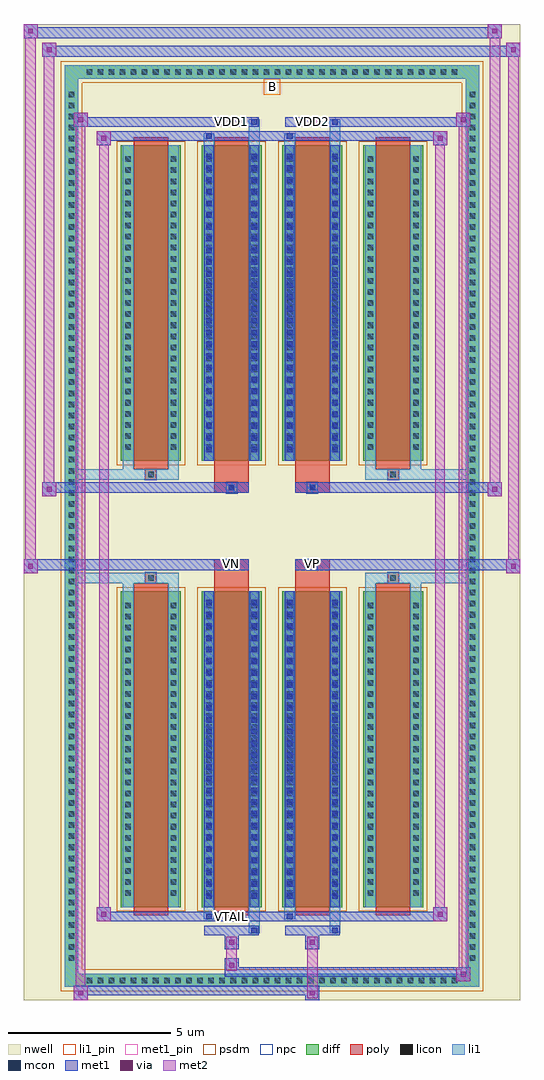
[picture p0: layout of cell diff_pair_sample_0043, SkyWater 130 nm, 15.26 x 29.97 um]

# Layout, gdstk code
import gdstk
lib = gdstk.Library(unit=1e-6, precision=5e-09)
def R(c, l, rs):  # rectangles x0, y0, x1, y1
    for r in rs: c.add(gdstk.rectangle(r[:2], r[2:], *l))
def A(c, l, x, y, w, h, nx, ny, dx, dy):  # array of equal rectangles
    R(c, l, [(x+i*dx, y+j*dy, x+i*dx+w, y+j*dy+h) for i in range(nx) for j in range(ny)])
def P(c, l, *ps):  # polygons
    for p in ps: c.add(gdstk.Polygon(p, *l))
nwell = (64, 20)
diff = (65, 20)
poly = (66, 20)
licon = (66, 44)
li1_pin = (67, 16)
li1 = (67, 20)
mcon = (67, 44)
met1_pin = (68, 16)
met1 = (68, 20)
via = (68, 44)
met2 = (69, 20)
psdm = (94, 20)
npc = (95, 20)

diff_pair_sample_0043 = lib.new_cell('diff_pair_sample_0043')
R(diff_pair_sample_0043, nwell, [(-7.63,-14.55,7.63,15.42), (-4.95,-12.74,-0.01,-0.82), (0.01,-12.74,4.95,-0.82), (-4.95,0.82,-0.01,12.74), (0.01,0.82,4.95,12.74)])
A(diff_pair_sample_0043, diff, -5.815, -14.15, 0.41, 0.41, 34, 2, 0.34, 27.89)
A(diff_pair_sample_0043, diff, -6.36, -13.465, 0.41, 0.41, 1, 79, 0, 0.34)
A(diff_pair_sample_0043, diff, 5.95, -13.465, 0.41, 0.41, 1, 79, 0, 0.34)
A(diff_pair_sample_0043, diff, -4.64, -11.695, 1.84, 9.69, 4, 2, 2.48, 13.7)
R(diff_pair_sample_0043, diff, [(-5.815,-14.15,5.815,-13.74), (-6.36,-13.465,-5.95,13.465), (5.95,-13.465,6.36,13.465), (-5.815,13.74,5.815,14.15)])
P(diff_pair_sample_0043, diff, [(6.36,14.15),(-6.36,14.15),(-6.36,-13.74),(-5.95,-13.74),(-5.95,13.74),(5.95,13.74),(5.95,-13.74),(-5.95,-13.74),(-6.36,-13.74),(-6.36,-14.15),(6.36,-14.15)])
A(diff_pair_sample_0043, poly, -4.25, -11.945, 1.06, 10.19, 4, 2, 2.48, 13.7)
R(diff_pair_sample_0043, poly, [(-3.885,-1.755,-3.555,-1.425), (-3.885,-1.755,-3.555,-1.425), (-1.77,-1.755,-0.71,-1.35), (0.71,-1.755,1.77,-1.35), (3.555,-1.755,3.885,-1.425), (3.555,-1.755,3.885,-1.425), (-1.77,-1.35,-0.71,-1.02), (-1.405,-1.35,-1.075,-1.02), (0.71,-1.35,1.77,-1.02), (1.075,-1.35,1.405,-1.02), (-1.77,1.02,-0.71,1.35), (-1.405,1.02,-1.075,1.35), (0.71,1.02,1.77,1.35), (1.075,1.02,1.405,1.35), (-1.77,1.35,-0.71,1.755), (0.71,1.35,1.77,1.755), (-3.885,1.425,-3.555,1.755), (-3.885,1.425,-3.555,1.755), (3.555,1.425,3.885,1.755), (3.555,1.425,3.885,1.755)])
A(diff_pair_sample_0043, licon, -5.695, -14.03, 0.17, 0.17, 34, 2, 0.34, 27.89)
A(diff_pair_sample_0043, licon, -6.24, -13.345, 0.17, 0.17, 1, 79, 0, 0.34)
A(diff_pair_sample_0043, licon, 6.07, -13.345, 0.17, 0.17, 1, 79, 0, 0.34)
A(diff_pair_sample_0043, licon, -4.5, -11.355, 0.17, 0.17, 1, 27, 0, 0.34)
A(diff_pair_sample_0043, licon, -3.11, -11.355, 0.17, 0.17, 1, 27, 0, 0.34)
A(diff_pair_sample_0043, licon, -2.02, -11.355, 0.17, 0.17, 1, 27, 0, 0.34)
A(diff_pair_sample_0043, licon, -0.63, -11.355, 0.17, 0.17, 1, 27, 0, 0.34)
A(diff_pair_sample_0043, licon, 0.46, -11.355, 0.17, 0.17, 1, 27, 0, 0.34)
A(diff_pair_sample_0043, licon, 1.85, -11.355, 0.17, 0.17, 1, 27, 0, 0.34)
A(diff_pair_sample_0043, licon, 2.94, -11.355, 0.17, 0.17, 1, 27, 0, 0.34)
A(diff_pair_sample_0043, licon, 4.33, -11.355, 0.17, 0.17, 1, 27, 0, 0.34)
A(diff_pair_sample_0043, licon, -4.5, 2.345, 0.17, 0.17, 1, 27, 0, 0.34)
A(diff_pair_sample_0043, licon, -3.11, 2.345, 0.17, 0.17, 1, 27, 0, 0.34)
A(diff_pair_sample_0043, licon, -2.02, 2.345, 0.17, 0.17, 1, 27, 0, 0.34)
A(diff_pair_sample_0043, licon, -0.63, 2.345, 0.17, 0.17, 1, 27, 0, 0.34)
A(diff_pair_sample_0043, licon, 0.46, 2.345, 0.17, 0.17, 1, 27, 0, 0.34)
A(diff_pair_sample_0043, licon, 1.85, 2.345, 0.17, 0.17, 1, 27, 0, 0.34)
A(diff_pair_sample_0043, licon, 2.94, 2.345, 0.17, 0.17, 1, 27, 0, 0.34)
A(diff_pair_sample_0043, licon, 4.33, 2.345, 0.17, 0.17, 1, 27, 0, 0.34)
R(diff_pair_sample_0043, licon, [(-3.805,-1.675,-3.635,-1.505), (3.635,-1.675,3.805,-1.505), (-1.325,-1.27,-1.155,-1.1), (1.155,-1.27,1.325,-1.1), (-1.325,1.1,-1.155,1.27), (1.155,1.1,1.325,1.27), (-3.805,1.505,-3.635,1.675), (3.635,1.505,3.805,1.675)])
R(diff_pair_sample_0043, li1_pin, [(-0.25,13.24,0.25,13.74)])
A(diff_pair_sample_0043, li1, -5.775, -14.11, 0.33, 0.33, 34, 2, 0.34, 27.89)
A(diff_pair_sample_0043, li1, -6.32, -13.425, 0.33, 0.33, 1, 79, 0, 0.34)
A(diff_pair_sample_0043, li1, 5.99, -13.425, 0.33, 0.33, 1, 79, 0, 0.34)
A(diff_pair_sample_0043, li1, -4.58, -11.435, 0.33, 0.33, 1, 27, 0, 0.34)
A(diff_pair_sample_0043, li1, -3.19, -11.435, 0.33, 0.33, 1, 27, 0, 0.34)
A(diff_pair_sample_0043, li1, -2.1, -11.435, 0.33, 0.33, 1, 27, 0, 0.34)
A(diff_pair_sample_0043, li1, -2.02, -11.435, 0.17, 0.17, 1, 26, 0, 0.36)
A(diff_pair_sample_0043, li1, -0.71, -11.435, 0.33, 0.33, 1, 27, 0, 0.34)
A(diff_pair_sample_0043, li1, -0.63, -11.435, 0.17, 0.17, 1, 26, 0, 0.36)
A(diff_pair_sample_0043, li1, 0.38, -11.435, 0.33, 0.33, 1, 27, 0, 0.34)
A(diff_pair_sample_0043, li1, 0.46, -11.435, 0.17, 0.17, 1, 26, 0, 0.36)
A(diff_pair_sample_0043, li1, 1.77, -11.435, 0.33, 0.33, 1, 27, 0, 0.34)
A(diff_pair_sample_0043, li1, 1.85, -11.435, 0.17, 0.17, 1, 26, 0, 0.36)
A(diff_pair_sample_0043, li1, 2.86, -11.435, 0.33, 0.33, 1, 27, 0, 0.34)
A(diff_pair_sample_0043, li1, 4.25, -11.435, 0.33, 0.33, 1, 27, 0, 0.34)
A(diff_pair_sample_0043, li1, -4.58, 2.265, 0.33, 0.33, 1, 27, 0, 0.34)
A(diff_pair_sample_0043, li1, -3.19, 2.265, 0.33, 0.33, 1, 27, 0, 0.34)
A(diff_pair_sample_0043, li1, -2.1, 2.265, 0.33, 0.33, 1, 27, 0, 0.34)
A(diff_pair_sample_0043, li1, -2.02, 2.265, 0.17, 0.17, 1, 26, 0, 0.36)
A(diff_pair_sample_0043, li1, -0.71, 2.265, 0.33, 0.33, 1, 27, 0, 0.34)
A(diff_pair_sample_0043, li1, -0.63, 2.265, 0.17, 0.17, 1, 26, 0, 0.36)
A(diff_pair_sample_0043, li1, 0.38, 2.265, 0.33, 0.33, 1, 27, 0, 0.34)
A(diff_pair_sample_0043, li1, 0.46, 2.265, 0.17, 0.17, 1, 26, 0, 0.36)
A(diff_pair_sample_0043, li1, 1.77, 2.265, 0.33, 0.33, 1, 27, 0, 0.34)
A(diff_pair_sample_0043, li1, 1.85, 2.265, 0.17, 0.17, 1, 26, 0, 0.36)
A(diff_pair_sample_0043, li1, 2.86, 2.265, 0.33, 0.33, 1, 27, 0, 0.34)
A(diff_pair_sample_0043, li1, 4.25, 2.265, 0.33, 0.33, 1, 27, 0, 0.34)
R(diff_pair_sample_0043, li1, [(-6.36,-14.15,-5.95,-13.74), (-6.36,-14.15,-5.95,-13.74), (-5.95,-14.15,5.95,-13.74), (5.95,-14.15,6.36,-13.74), (5.95,-14.15,6.36,-13.74), (-6.36,-13.74,-5.95,13.74), (5.95,-13.74,6.36,13.74), (-0.71,-12.5,-0.38,-11.695), (-0.63,-12.5,-0.46,-12.33), (1.77,-12.5,2.1,-11.695), (1.85,-12.5,2.02,-12.33), (-2.1,-12.07,-1.77,-11.695), (-2.02,-12.07,-1.85,-11.9), (0.38,-12.07,0.71,-11.695), (0.46,-12.07,0.63,-11.9), (-4.58,-11.695,-4.25,-2.005), (-3.19,-11.695,-2.86,-2.005), (-2.1,-11.695,-1.77,-2.005), (-0.71,-11.695,-0.38,-2.005), (0.38,-11.695,0.71,-2.005), (1.77,-11.695,2.1,-2.005), (2.86,-11.695,3.19,-2.005), (4.25,-11.695,4.58,-2.005), (-2.02,-11.435,-1.85,-2.265), (-0.63,-11.435,-0.46,-2.265), (0.46,-11.435,0.63,-2.265), (1.85,-11.435,2.02,-2.265), (-4.58,-2.005,-4.25,-1.425), (-3.19,-2.005,-2.86,-1.425), (2.86,-2.005,3.19,-1.425), (4.25,-2.005,4.58,-1.425), (-6.36,-1.755,-3.885,-1.425), (-4.58,-1.755,-3.885,-1.425), (-3.885,-1.755,-3.555,-1.425), (-3.555,-1.755,-2.86,-1.425), (2.86,-1.755,3.555,-1.425), (3.555,-1.755,3.885,-1.425), (3.555,-1.755,6.36,-1.425), (3.885,-1.755,4.58,-1.425), (-1.405,-1.35,-1.075,-1.02), (1.075,-1.35,1.405,-1.02), (-1.405,1.02,-1.075,1.35), (1.075,1.02,1.405,1.35), (-6.36,1.425,-3.885,1.755), (-4.58,1.425,-3.885,1.755), (-4.58,1.425,-4.25,2.005), (-3.885,1.425,-3.555,1.755), (-3.555,1.425,-2.86,1.755), (-3.19,1.425,-2.86,2.005), (2.86,1.425,3.555,1.755), (2.86,1.425,3.19,2.005), (3.555,1.425,3.885,1.755), (3.555,1.425,6.36,1.755), (3.885,1.425,4.58,1.755), (4.25,1.425,4.58,2.005), (-4.58,2.005,-4.25,11.695), (-3.19,2.005,-2.86,11.695), (-2.1,2.005,-1.77,11.695), (-0.71,2.005,-0.38,11.695), (0.38,2.005,0.71,11.695), (1.77,2.005,2.1,11.695), (2.86,2.005,3.19,11.695), (4.25,2.005,4.58,11.695), (-2.02,2.265,-1.85,11.435), (-0.63,2.265,-0.46,11.435), (0.46,2.265,0.63,11.435), (1.85,2.265,2.02,11.435), (-2.1,11.695,-1.77,12.07), (-0.71,11.695,-0.38,12.5), (0.38,11.695,0.71,12.07), (1.77,11.695,2.1,12.5), (-2.02,11.9,-1.85,12.07), (0.46,11.9,0.63,12.07), (-0.63,12.33,-0.46,12.5), (1.85,12.33,2.02,12.5), (-6.36,13.74,-5.95,14.15), (-6.36,13.74,-5.95,14.15), (-5.95,13.74,5.95,14.15), (5.95,13.74,6.36,14.15), (5.95,13.74,6.36,14.15)])
A(diff_pair_sample_0043, mcon, -2.02, -11.435, 0.17, 0.17, 1, 26, 0, 0.36)
A(diff_pair_sample_0043, mcon, -0.63, -11.435, 0.17, 0.17, 1, 26, 0, 0.36)
A(diff_pair_sample_0043, mcon, 0.46, -11.435, 0.17, 0.17, 1, 26, 0, 0.36)
A(diff_pair_sample_0043, mcon, 1.85, -11.435, 0.17, 0.17, 1, 26, 0, 0.36)
A(diff_pair_sample_0043, mcon, -2.02, 2.265, 0.17, 0.17, 1, 26, 0, 0.36)
A(diff_pair_sample_0043, mcon, -0.63, 2.265, 0.17, 0.17, 1, 26, 0, 0.36)
A(diff_pair_sample_0043, mcon, 0.46, 2.265, 0.17, 0.17, 1, 26, 0, 0.36)
A(diff_pair_sample_0043, mcon, 1.85, 2.265, 0.17, 0.17, 1, 26, 0, 0.36)
R(diff_pair_sample_0043, mcon, [(-0.63,-12.5,-0.46,-12.33), (1.85,-12.5,2.02,-12.33), (-2.02,-12.07,-1.85,-11.9), (0.46,-12.07,0.63,-11.9), (-1.325,-1.27,-1.155,-1.1), (1.155,-1.27,1.325,-1.1), (-1.325,1.1,-1.155,1.27), (1.155,1.1,1.325,1.27), (-2.02,11.9,-1.85,12.07), (0.46,11.9,0.63,12.07), (-0.63,12.33,-0.46,12.5), (1.85,12.33,2.02,12.5)])
R(diff_pair_sample_0043, met1_pin, [(-1.375,-12.11,-1.105,-11.84), (-1.375,-1.29,-1.105,-1.02), (1.105,-1.29,1.375,-1.02), (-1.375,12.29,-1.105,12.56), (1.105,12.29,1.375,12.56)])
A(diff_pair_sample_0043, met1, -2.08, -11.495, 0.29, 0.29, 1, 26, 0, 0.36)
A(diff_pair_sample_0043, met1, -0.69, -11.495, 0.29, 0.29, 1, 26, 0, 0.36)
A(diff_pair_sample_0043, met1, 0.4, -11.495, 0.29, 0.29, 1, 26, 0, 0.36)
A(diff_pair_sample_0043, met1, 1.79, -11.495, 0.29, 0.29, 1, 26, 0, 0.36)
A(diff_pair_sample_0043, met1, -2.08, 2.205, 0.29, 0.29, 1, 26, 0, 0.36)
A(diff_pair_sample_0043, met1, -0.69, 2.205, 0.29, 0.29, 1, 26, 0, 0.36)
A(diff_pair_sample_0043, met1, 0.4, 2.205, 0.29, 0.29, 1, 26, 0, 0.36)
A(diff_pair_sample_0043, met1, 1.79, 2.205, 0.29, 0.29, 1, 26, 0, 0.36)
R(diff_pair_sample_0043, met1, [(-6.09,-14.55,-5.66,-14.12), (1.025,-14.55,1.455,-14.12), (-6.09,-14.41,1.455,-14.12), (5.66,-13.98,6.09,-13.55), (-1.455,-13.84,6.09,-13.55), (-1.455,-13.7,-1.025,-13.27), (-1.455,-12.99,-1.025,-12.56), (1.025,-12.99,1.455,-12.56), (-2.08,-12.56,-0.4,-12.27), (-0.69,-12.56,-0.4,-12.27), (0.4,-12.56,2.08,-12.27), (1.79,-12.56,2.08,-12.27), (-5.38,-12.13,-4.95,-11.7), (-5.38,-12.13,-2.08,-11.84), (-2.08,-12.13,-1.79,-11.84), (-2.08,-12.13,-0.4,-11.84), (-0.4,-12.13,0.4,-11.84), (0.4,-12.13,0.69,-11.84), (0.4,-12.13,2.08,-11.84), (2.08,-12.13,5.38,-11.84), (4.95,-12.13,5.38,-11.7), (-2.08,-11.695,-1.79,-2.005), (-0.69,-11.695,-0.4,-2.005), (0.4,-11.695,0.69,-2.005), (1.79,-11.695,2.08,-2.005), (-7.63,-1.45,-7.2,-1.02), (7.2,-1.45,7.63,-1.02), (-7.63,-1.35,-0.71,-1.02), (-1.77,-1.35,-0.71,-1.02), (0.71,-1.35,1.77,-1.02), (0.71,-1.35,7.63,-1.02), (-1.385,-1.33,-1.095,-1.04), (1.095,-1.33,1.385,-1.04), (-7.06,0.92,-6.63,1.35), (6.63,0.92,7.06,1.35), (-7.06,1.02,-1.77,1.35), (-1.77,1.02,-0.71,1.35), (0.71,1.02,1.77,1.35), (1.77,1.02,7.06,1.35), (-1.385,1.04,-1.095,1.33), (1.095,1.04,1.385,1.33), (-2.08,2.005,-1.79,11.695), (-0.69,2.005,-0.4,11.695), (0.4,2.005,0.69,11.695), (1.79,2.005,2.08,11.695), (-5.38,11.7,-4.95,12.13), (4.95,11.7,5.38,12.13), (-5.38,11.84,-2.08,12.13), (-2.08,11.84,-1.79,12.13), (-2.08,11.84,-0.4,12.13), (-0.4,11.84,0.4,12.13), (0.4,11.84,0.69,12.13), (0.4,11.84,2.08,12.13), (2.08,11.84,5.38,12.13), (-6.09,12.27,-5.66,12.7), (-6.09,12.27,-2.08,12.56), (-2.08,12.27,-0.4,12.56), (-0.69,12.27,-0.4,12.56), (0.4,12.27,2.08,12.56), (1.79,12.27,2.08,12.56), (2.08,12.27,6.09,12.56), (5.66,12.27,6.09,12.7), (-7.06,14.42,-6.63,14.85), (-7.06,14.42,-4.95,14.75), (-4.95,14.42,4.95,14.75), (4.95,14.42,7.63,14.75), (7.2,14.42,7.63,14.85), (-7.63,14.99,-7.2,15.42), (-7.63,14.99,-4.95,15.32), (-4.95,14.99,4.95,15.32), (4.95,14.99,7.06,15.32), (6.63,14.99,7.06,15.42)])
R(diff_pair_sample_0043, via, [(-5.95,-14.41,-5.8,-14.26), (1.165,-14.41,1.315,-14.26), (5.8,-13.84,5.95,-13.69), (-1.315,-13.56,-1.165,-13.41), (-1.315,-12.85,-1.165,-12.7), (1.165,-12.85,1.315,-12.7), (-5.24,-11.99,-5.09,-11.84), (5.09,-11.99,5.24,-11.84), (-7.49,-1.31,-7.34,-1.16), (7.34,-1.31,7.49,-1.16), (-6.92,1.06,-6.77,1.21), (6.77,1.06,6.92,1.21), (-5.24,11.84,-5.09,11.99), (5.09,11.84,5.24,11.99), (-5.95,12.41,-5.8,12.56), (5.8,12.41,5.95,12.56), (-6.92,14.56,-6.77,14.71), (7.34,14.56,7.49,14.71), (-7.49,15.13,-7.34,15.28), (6.77,15.13,6.92,15.28)])
R(diff_pair_sample_0043, met2, [(-6.09,-14.55,-5.66,-14.12), (-6.02,-14.55,-5.73,12.7), (-5.73,-14.55,-5.66,-14.12), (-6.04,-14.5,-5.71,-14.17), (1.075,-14.5,1.405,-14.17), (1.075,-14.17,1.405,-12.94), (5.66,-13.98,6.09,-13.55), (5.73,-13.98,6.02,12.7), (6.02,-13.98,6.09,-13.55), (5.71,-13.93,6.04,-13.6), (-1.405,-13.65,-1.075,-13.32), (-1.405,-13.32,-1.075,-12.94), (-1.405,-12.94,-1.075,-12.61), (1.075,-12.94,1.405,-12.61), (-5.38,-12.13,-4.95,-11.7), (-5.31,-12.13,-5.02,12.13), (-5.02,-12.13,-4.95,-11.7), (4.95,-12.13,5.38,-11.7), (5.02,-12.13,5.31,12.13), (5.31,-12.13,5.38,-11.7), (-5.33,-12.08,-5,-11.75), (5,-12.08,5.33,-11.75), (-7.63,-1.45,-7.2,-1.02), (-7.58,-1.45,-7.25,15.42), (-7.25,-1.45,-7.2,-1.02), (7.2,-1.45,7.63,-1.02), (7.25,-1.45,7.58,14.85), (7.58,-1.45,7.63,-1.02), (-7.58,-1.4,-7.25,-1.07), (7.25,-1.4,7.58,-1.07), (-7.06,0.92,-6.63,1.35), (-7.01,0.92,-6.68,14.85), (-6.68,0.92,-6.63,1.35), (6.63,0.92,7.06,1.35), (6.68,0.92,7.01,15.42), (7.01,0.92,7.06,1.35), (-7.01,0.97,-6.68,1.3), (6.68,0.97,7.01,1.3), (-5.38,11.7,-4.95,12.13), (-5.02,11.7,-4.95,12.13), (4.95,11.7,5.38,12.13), (5.31,11.7,5.38,12.13), (-5.33,11.75,-5,12.08), (5,11.75,5.33,12.08), (-6.09,12.27,-5.66,12.7), (-5.73,12.27,-5.66,12.7), (5.66,12.27,6.09,12.7), (6.02,12.27,6.09,12.7), (-6.04,12.32,-5.71,12.65), (5.71,12.32,6.04,12.65), (-7.06,14.42,-6.63,14.85), (-6.68,14.42,-6.63,14.85), (7.2,14.42,7.63,14.85), (7.58,14.42,7.63,14.85), (-7.01,14.47,-6.68,14.8), (7.25,14.47,7.58,14.8), (-7.63,14.99,-7.2,15.42), (-7.25,14.99,-7.2,15.42), (6.63,14.99,7.06,15.42), (7.01,14.99,7.06,15.42), (-7.58,15.04,-7.25,15.37), (6.68,15.04,7.01,15.37)])
A(diff_pair_sample_0043, psdm, -4.77, -11.825, 2.1, 9.95, 4, 2, 2.48, 13.7)
P(diff_pair_sample_0043, psdm, [(6.49,14.28),(-6.49,14.28),(-6.49,-13.61),(-5.82,-13.61),(-5.82,13.61),(5.82,13.61),(5.82,-13.61),(-5.82,-13.61),(-6.49,-13.61),(-6.49,-14.28),(6.49,-14.28)])
R(diff_pair_sample_0043, npc, [(-3.905,-1.775,-3.535,-1.405), (3.535,-1.775,3.905,-1.405), (-1.425,-1.37,-1.055,-1), (1.055,-1.37,1.425,-1), (-1.425,1,-1.055,1.37), (1.055,1,1.425,1.37), (-3.905,1.405,-3.535,1.775), (3.535,1.405,3.905,1.775)])
diff_pair_sample_0043.add(gdstk.Label('VTAIL', (-1.24,-11.975), layer=68, texttype=5))
diff_pair_sample_0043.add(gdstk.Label('VN', (-1.24,-1.155), layer=68, texttype=5))
diff_pair_sample_0043.add(gdstk.Label('VP', (1.24,-1.155), layer=68, texttype=5))
diff_pair_sample_0043.add(gdstk.Label('B', (0,13.49), layer=67, texttype=5))
diff_pair_sample_0043.add(gdstk.Label('VDD2', (1.24,12.425), layer=68, texttype=5))
diff_pair_sample_0043.add(gdstk.Label('VDD1', (-1.24,12.425), layer=68, texttype=5))

lib.write_gds('diff_pair_sample_0043.gds')
